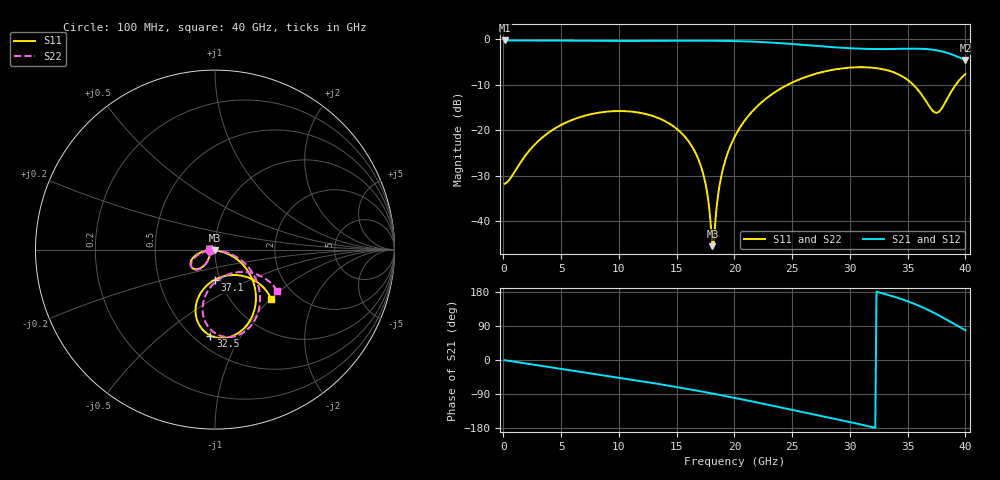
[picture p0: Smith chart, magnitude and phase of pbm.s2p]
! C_s8_offset: physics-based via model (prototype), ports at the via
# Hz S RI R 50
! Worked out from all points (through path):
!   400 points, 100 MHz to 40 GHz, reference 50 ohm
!   highest |S21| = -0.23 dB at 100 MHz (marker M1); lowest = -4.6 dB at 40 GHz (marker M2)
!   group delay of S21, straight-line fit = 17.5 ps
!   lowest |S11| = -45.4 dB at 18.1 GHz (marker M3), VSWR 1.01, Z = 49.8 - j0.496 ohm
!   |S11| at or under -10 dB: start of sweep to 24.58 GHz; 35.5 GHz to 39.15 GHz (3.652 GHz wide, 9.78 % of centre)
!   |S22| runs from -45.3 to -6.1 dB; largest |S21 - S12| = 0
!   S11 on the Smith chart (normalised r, x): 100 MHz: 0.95, -0.00; 32.5 GHz: 0.60, -0.75; 37.1 GHz: 0.94, -0.33; 40 GHz: 1.51, -1.00
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1e8  -0.0259 -0.00226  0.9741 -0.00796  0.9741 -0.00796  -0.0259 -0.00227
3.3e9  -0.045 -0.069  0.9364 -0.2583  0.9364 -0.2583  -0.0442 -0.0695
6.8e9  -0.0929 -0.1077  0.8214 -0.5068  0.8214 -0.5068  -0.0904 -0.1098
1.03e10  -0.1326 -0.0953  0.6433 -0.7152  0.6433 -0.7152  -0.1292 -0.0999
1.34e10  -0.1269 -0.0519  0.4359 -0.8602  0.4359 -0.8602  -0.1244 -0.0576
1.54e10  -0.0914 -0.0217  0.2751 -0.9272  0.2751 -0.9272  -0.0902 -0.0264
1.68e10  -0.0504 -0.00764  0.1498 -0.9565  0.1498 -0.9565  -0.0499 -0.0105
1.76e10  -0.0216 -0.00453  0.0741 -0.9649  0.0741 -0.9649  -0.0213 -0.00586
1.78e10  -0.0139 -0.00447  0.0547 -0.966  0.0547 -0.966  -0.0136 -0.00535
1.81e10  -0.00199 -0.00498  0.0255 -0.9667  0.0255 -0.9667  -0.00168 -0.00514
1.82e10  0.00207 -0.00531  0.0157 -0.9667  0.0157 -0.9667  0.00239 -0.00523
1.86e10  0.0187 -0.00751  -0.0238 -0.9655  -0.0238 -0.9655  0.0191 -0.00638
1.89e10  0.0314 -0.0101  -0.0537 -0.9632  -0.0537 -0.9632  0.032 -0.00816
2.01e10  0.0839 -0.0295  -0.1736 -0.9426  -0.1736 -0.9426  0.0857 -0.0238
2.28e10  0.1881 -0.1269  -0.4275 -0.825  -0.4275 -0.825  0.1972 -0.1122
2.67e10  0.2168 -0.3447  -0.6784 -0.5233  -0.6784 -0.5233  0.2468 -0.3239
3.25e10  -0.0255 -0.4787  -0.7831 0.0216  -0.7831 0.0216  0.0267 -0.4786
3.34e10  -0.0681 -0.4468  -0.7745 0.1241  -0.7745 0.1241  -0.0178 -0.4516
3.54e10  -0.1056 -0.3078  -0.6882 0.3913  -0.6882 0.3913  -0.0686 -0.318
3.71e10  -0.00134 -0.1684  -0.4668 0.616  -0.4668 0.616  0.0194 -0.1668
3.78e10  0.0829 -0.1427  -0.3278 0.6707  -0.3278 0.6707  0.1001 -0.1305
4e10  0.3128 -0.2754  0.1183 0.5783  0.1183 0.5783  0.3469 -0.2305
